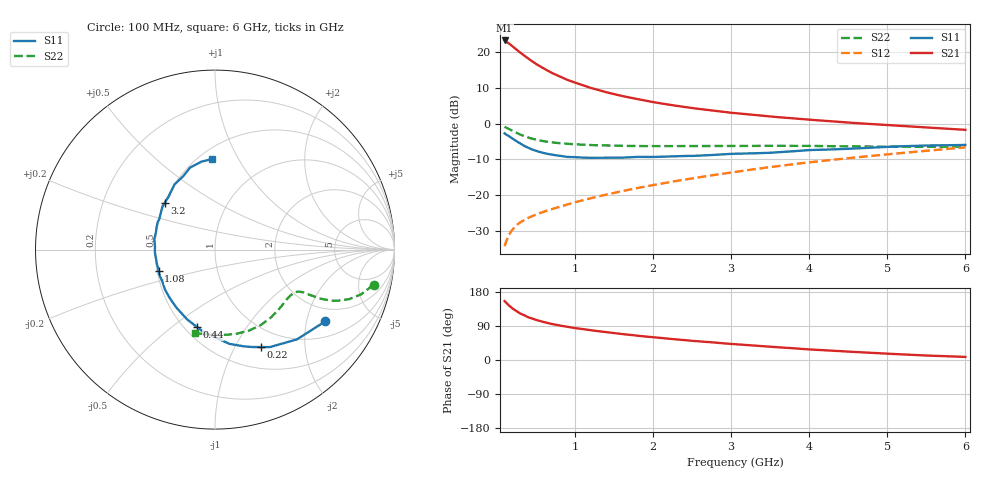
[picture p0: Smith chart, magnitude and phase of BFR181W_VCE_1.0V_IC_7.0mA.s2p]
! Infineon Technologies  Discrete & RF Semiconductors
! BFR181W
! VCE =  1.0 V,  IC =  7.0 mA
! Common Emitter S-Parameters:  Nov 2015
# GHz  S  MA  R  50
!  f  S11  S21  S12  S22
! GHz  MAG  ANG  MAG  ANG  MAG  ANG  MAG  ANG
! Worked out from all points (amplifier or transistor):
!   192 points, 100 MHz to 6 GHz, reference 50 ohm
!   highest |S21| = 23.4 dB at 100 MHz (marker M1)
!   |S21| within 3 dB of that: start of sweep to 277.7 MHz
!   unconditionally stable (mu >= 1): 794.5 MHz to 3.602 GHz
!   at 440 MHz: K = 0.72, MSG = 21.9 dB, |S12| = -26.0 dB
!   at 1.7 GHz: K = 1.18, MAG = 10.3 dB, |S12| = -18.5 dB
!   at 6 GHz: K = 0.86, MSG = 2.5 dB, |S12| = -6.6 dB
!   S11 on the Smith chart (normalised r, x): 100 MHz: 1.50, -2.60; 220 MHz: 0.75, -1.28; 440 MHz: 0.58, -0.62; 1.08 GHz: 0.51, -0.14; 3.2 GHz: 0.50, +0.31; 6 GHz: 0.58, +0.79
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0.1  0.7334 -33.0  14.74 155.4  0.0192 73.7  0.9052 -12.5
0.15  0.6774 -47.6  13.53 144.8  0.0269 67.2  0.8506 -17.1
0.2  0.6234 -60.6  12.26 136.1  0.0327 63.5  0.7962 -20.3
0.22  0.6001 -64.8  11.76 133.4  0.0347 62.1  0.7758 -21.1
0.26  0.5624 -73.4  10.83 127.8  0.0384 59.9  0.7374 -22.7
0.3  0.5313 -81.3  9.967 122.7  0.0414 58.3  0.7047 -23.8
0.4  0.4621 -98.3  8.22 112.9  0.0477 56.5  0.6407 -25.1
0.44  0.442 -103.3  7.688 110.4  0.0499 56.4  0.6235 -25.2
0.5  0.4189 -111.7  6.922 105.9  0.0532 56.2  0.5978 -25.4
0.56  0.399 -118.5  6.333 102.6  0.0563 56.6  0.5804 -25.6
0.6  0.389 -123.3  5.954 100.1  0.0584 56.8  0.5688 -25.7
0.7  0.3701 -132.7  5.196 95.2  0.0632 57.9  0.5491 -25.8
0.9  0.343 -148.4  4.144 87.6  0.0738 60.2  0.5239 -26.5
1.08  0.3362 -159.1  3.538 82.2  0.0835 62.0  0.5105 -27.6
1.1  0.3354 -160.2  3.479 81.6  0.0846 62.2  0.5092 -27.7
1.5  0.3353 -178.7  2.605 70.8  0.1073 64.8  0.4926 -31.1
2.08  0.3444 162.3  1.949 58.5  0.1433 67.0  0.4858 -37.6
3.1  0.3806 138.7  1.394 40.9  0.2149 66.6  0.4897 -51.9
3.2  0.3828 136.8  1.36 39.5  0.2228 66.2  0.4896 -53.6
4.1  0.4304 120.1  1.121 26.8  0.296 62.5  0.4875 -69.0
5.1  0.4804 105.2  0.946 15.7  0.3813 56.4  0.4759 -87.3
6  0.505 91.7  0.822 8.2  0.4667 49.8  0.4786 -103.3
